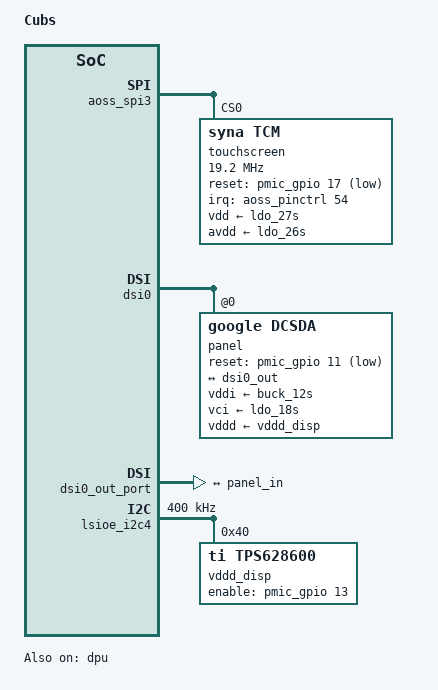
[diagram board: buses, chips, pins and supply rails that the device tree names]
// SPDX-License-Identifier: GPL-2.0-only OR BSD-2-Clause
/*
 * Cubs Device Tree (Pixel 11 family)
 *
 * Copyright 2025 Google LLC
 */

/dts-v1/;

#include <dt-bindings/gpio/gpio.h>

#include "mbu-pixel-common.dtsi"

/ {
	model = "Cubs";
	compatible = "google,mbu-cubs", "google,mbu";
};

&aoss_spi3 {
	status = "okay";

	touchscreen@0 {
		compatible = "syna,tcm";
		reg = <0>;
		spi-max-frequency = <19200000>;
		spi-cs-setup-delay-ns = <10000>;
		rx-sample-delay-ns = <25>;
		interrupt-parent = <&aoss_pinctrl>;
		interrupts = <54 IRQ_TYPE_LEVEL_LOW>;
		reset-gpios = <&pmic_gpio 17 GPIO_ACTIVE_LOW>;
		vdd-supply = <&ldo_27s>;
		avdd-supply = <&ldo_26s>;
		pinctrl-0 = <&ts0_int>;
		pinctrl-names = "default";
	};
};

&dpu {
	status = "okay";
};

&dsi0 {
	status = "okay";

	panel@0 {
		compatible = "google,dcsda";
		reg = <0>;
		reset-gpios = <&pmic_gpio 11 GPIO_ACTIVE_LOW>;
		vddi-supply = <&buck_12s>;
		vci-supply = <&ldo_18s>;
		vddd-supply = <&vddd_disp>;

		port {
			panel_in: endpoint {
				remote-endpoint = <&dsi0_out>;
			};
		};
	};
};

&dsi0_out_port {
	dsi0_out: endpoint {
		remote-endpoint = <&panel_in>;
	};
};

&lsioe_i2c4 {
	clock-frequency = <400000>;

	status = "okay";

	/* Display panel core supply */
	vddd_disp: regulator@40 {
		compatible = "ti,tps628600";
		reg = <0x40>;
		enable-gpios = <&pmic_gpio 13 GPIO_ACTIVE_HIGH>;
		regulator-name = "vddd_disp";
		regulator-min-microvolt = <1000000>;
		regulator-max-microvolt = <1000000>;
	};
};
